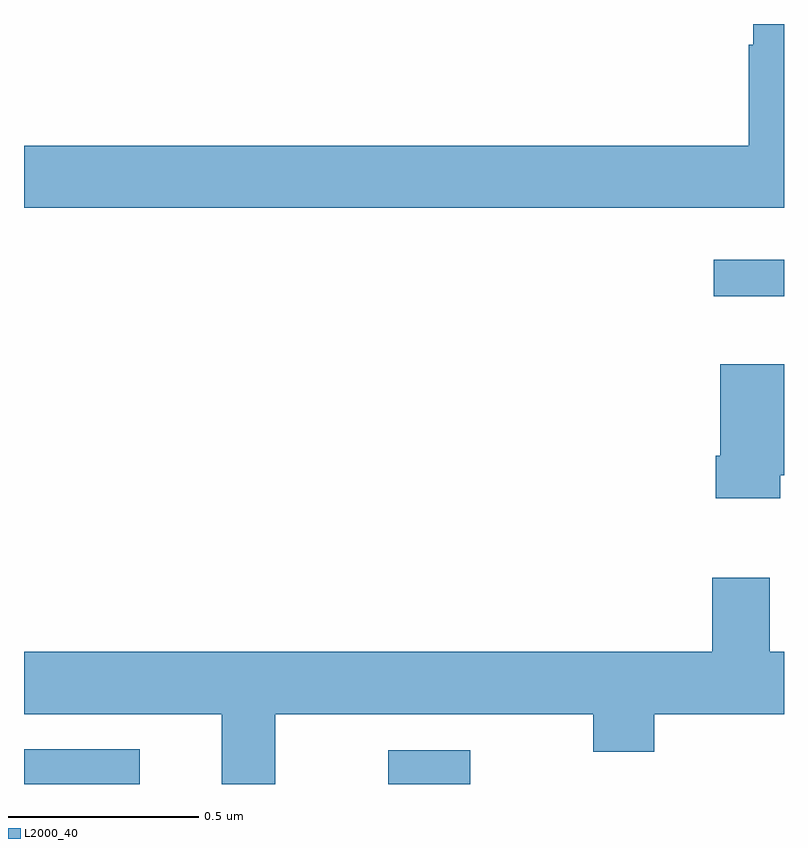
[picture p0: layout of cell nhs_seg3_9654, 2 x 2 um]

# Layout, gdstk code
import gdstk
lib = gdstk.Library(unit=1e-6, precision=1e-09)
def R(c, l, rs):  # rectangles x0, y0, x1, y1
    for r in rs: c.add(gdstk.rectangle(r[:2], r[2:], *l))
def P(c, l, *ps):  # polygons
    for p in ps: c.add(gdstk.Polygon(p, *l))
L2000_40 = (2000, 40)

nhs_seg3_9654 = lib.new_cell('nhs_seg3_9654')
R(nhs_seg3_9654, L2000_40, [(231,699.4,231.304,699.492), (231.959,699.4,232.174,699.489), (232.815,700.683,233,700.78)])
P(nhs_seg3_9654, L2000_40, [(233,701.4),(232.919,701.4),(232.919,701.345),(232.907,701.345),(232.907,701.08),(231,701.08),(231,700.916),(233,700.916)],
  [(232.99,700.212),(233,700.212),(233,700.504),(232.832,700.504),(232.832,700.264),(232.82,700.264),(232.82,700.152),(232.99,700.152)],
  [(231.661,699.584),(232.498,699.584),(232.498,699.485),(232.658,699.485),(232.658,699.584),(233,699.584),(233,699.748),(232.963,699.748),(232.963,699.943),(232.811,699.943),(232.811,699.748),(231,699.748),(231,699.584),(231.521,699.584),(231.521,699.4),(231.661,699.4)])

lib.write_gds('nhs_seg3_9654.gds')
